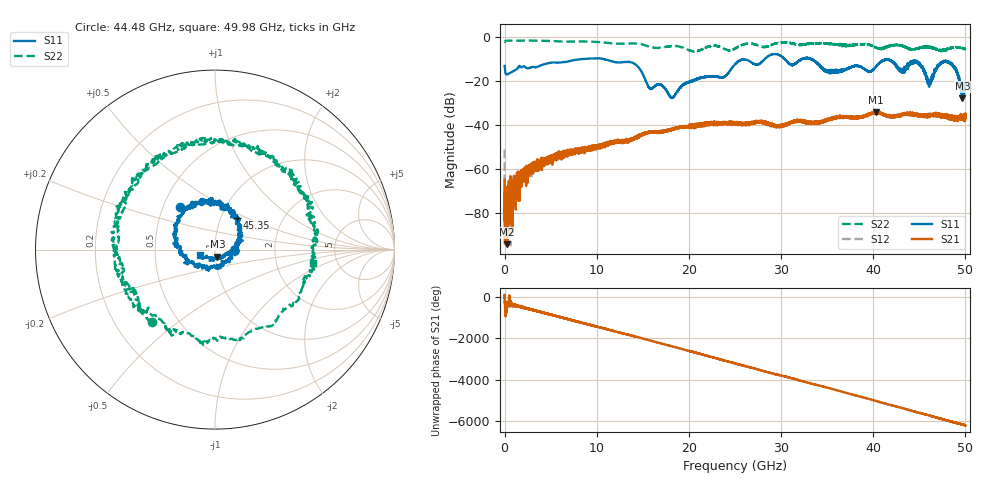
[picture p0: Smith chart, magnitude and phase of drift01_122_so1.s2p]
!Created with skrf (http://scikit-rf.org).
# Hz S RI R 50.0
!freq ReS11 ImS11 ReS21 ImS21 ReS12 ImS12 ReS22 ImS22
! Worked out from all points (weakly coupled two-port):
!   10001 points, 300 kHz to 50 GHz, reference 50 ohm
!   highest |S21| = -34.05 dB at 40.26 GHz (marker M1); lowest = -94.4 dB at 290.3 MHz (marker M2)
!   lowest |S11| = -27.7 dB at 49.67 GHz (marker M3), VSWR 1.09, Z = 51.2 - j3.98 ohm
!   |S11| at or under -10 dB: start of sweep to 8.05 GHz; 10.92 GHz to 28.19 GHz (17.27 GHz wide, 88.3 % of centre); 41.57 GHz to end of sweep (the widest 3 of 18)
!   |S22| runs from -6.4 to -1.4 dB; largest |S21 - S12| = 0.0052
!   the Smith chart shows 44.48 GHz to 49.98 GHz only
!   S11 on the Smith chart (normalised r, x): 44.48 GHz: 0.61, +0.32; 45.35 GHz: 1.19, +0.44; 49.98 GHz: 0.84, -0.06
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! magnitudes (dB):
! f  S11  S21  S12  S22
! 300 kHz  -13.0  -65.0  -51.2  -2.1
! 290.3 MHz  -16.9  -94.4  -81.8  -1.4
! 2.32 GHz  -13.8  -62.0  -61.9  -1.4
! 8.335 GHz  -9.9  -51.0  -51.9  -1.8
! 13.8 GHz  -11.4  -46.5  -46.8  -2.7
! 15.75 GHz  -23.3  -43.4  -43.5  -4.2
! 16.67 GHz  -21.4  -43.2  -43.4  -4.8
! 18.21 GHz  -27.2  -42.2  -41.7  -3.9
! 25 GHz  -12.2  -39.1  -39.6  -5.1
! 29.24 GHz  -7.6  -40.3  -40.4  -3.0
! 33.34 GHz  -10.0  -39.2  -39.0  -2.7
! 35.23 GHz  -15.2  -37.5  -37.8  -2.9
! 40.26 GHz  -13.6  -34.0  -34.4  -4.6
! 41.67 GHz  -10.2  -36.0  -36.0  -4.2
! 43.08 GHz  -14.7  -35.1  -35.5  -3.8
! 44.48 GHz  -10.3  -35.2  -35.3  -5.4
! 45.35 GHz  -13.3  -35.3  -36.3  -4.5
! 46.12 GHz  -21.4  -36.0  -35.9  -4.3
! 48.24 GHz  -11.4  -35.6  -36.5  -4.9
! 49.67 GHz  -27.7  -36.6  -36.5  -4.8
! 49.98 GHz  -20.8  -35.8  -36.6  -5.2
! 50 GHz  -21.4  -37.1  -36.5  -5.2
